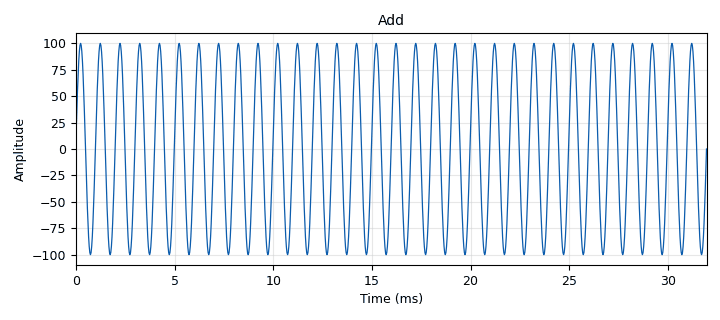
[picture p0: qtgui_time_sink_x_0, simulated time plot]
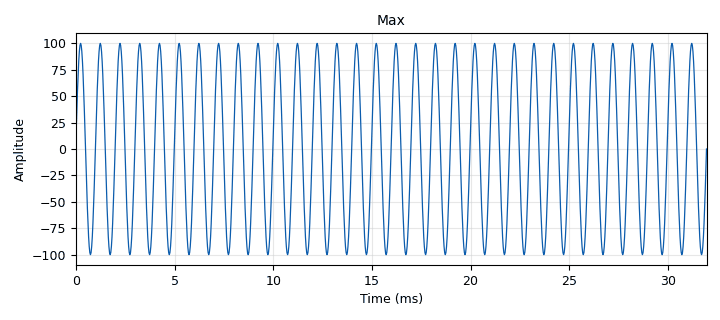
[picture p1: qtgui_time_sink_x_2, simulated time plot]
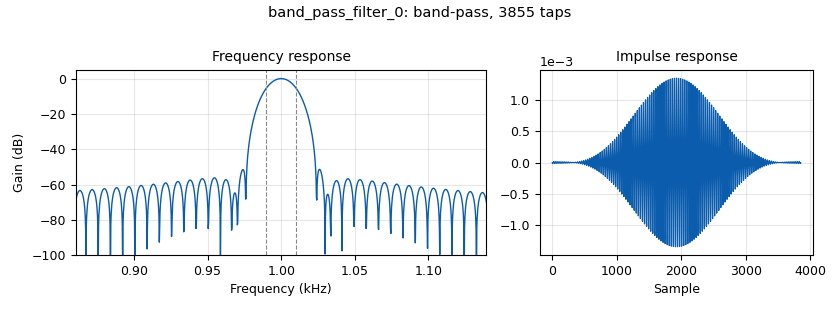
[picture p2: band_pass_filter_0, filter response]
<?xml version='1.0' encoding='utf-8'?>
<?grc format='1' created='3.7.9'?>
<flow_graph>
<block>
<key>options</key>
<param><key>id</key><value>top_block</value></param>
<param><key>category</key><value>Custom</value></param>
<param><key>generate_options</key><value>qt_gui</value></param>
</block>
<block>
<key>variable_function_probe</key>
<param><key>id</key><value>Selector</value></param>
<param><key>block_id</key><value>probe</value></param>
<param><key>function_name</key><value>level</value></param>
<param><key>poll_rate</key><value>10</value></param>
<param><key>value</key><value>0</value></param>
</block>
<block>
<key>variable</key>
<param><key>id</key><value>samp_rate</value></param>
<param><key>value</key><value>32000</value></param>
</block>
<block>
<key>variable_qtgui_range</key>
<param><key>id</key><value>variable_qtgui_range_0</value></param>
<param><key>value</key><value>50</value></param>
<param><key>label</key><value>Sig 2</value></param>
<param><key>orient</key><value>Qt.Horizontal</value></param>
<param><key>start</key><value>0</value></param>
<param><key>step</key><value>1</value></param>
<param><key>stop</key><value>100</value></param>
</block>
<block>
<key>variable_qtgui_range</key>
<param><key>id</key><value>variable_qtgui_range_1</value></param>
<param><key>value</key><value>50</value></param>
<param><key>label</key><value>Sig 1</value></param>
<param><key>orient</key><value>Qt.Horizontal</value></param>
<param><key>start</key><value>0</value></param>
<param><key>step</key><value>1</value></param>
<param><key>stop</key><value>100</value></param>
</block>
<block>
<key>analog_sig_source_x</key>
<param><key>id</key><value>Sig1</value></param>
<param><key>amp</key><value>variable_qtgui_range_1</value></param>
<param><key>freq</key><value>1000</value></param>
<param><key>offset</key><value>0</value></param>
<param><key>type</key><value>float</value></param>
<param><key>samp_rate</key><value>samp_rate</value></param>
<param><key>waveform</key><value>analog.GR_COS_WAVE</value></param>
</block>
<block>
<key>analog_sig_source_x</key>
<param><key>id</key><value>Sig2</value></param>
<param><key>amp</key><value>variable_qtgui_range_0</value></param>
<param><key>freq</key><value>1000</value></param>
<param><key>offset</key><value>0</value></param>
<param><key>type</key><value>float</value></param>
<param><key>samp_rate</key><value>samp_rate</value></param>
<param><key>waveform</key><value>analog.GR_COS_WAVE</value></param>
</block>
<block>
<key>analog_noise_source_x</key>
<param><key>id</key><value>analog_noise_source_x_0</value></param>
<param><key>amp</key><value>0.001</value></param>
<param><key>noise_type</key><value>analog.GR_GAUSSIAN</value></param>
<param><key>type</key><value>float</value></param>
<param><key>seed</key><value>0</value></param>
</block>
<block>
<key>band_pass_filter</key>
<param><key>id</key><value>band_pass_filter_0</value></param>
<param><key>decim</key><value>1</value></param>
<param><key>type</key><value>fir_filter_fff</value></param>
<param><key>gain</key><value>1</value></param>
<param><key>high_cutoff_freq</key><value>1010</value></param>
<param><key>low_cutoff_freq</key><value>990</value></param>
<param><key>samp_rate</key><value>samp_rate</value></param>
<param><key>width</key><value>20</value></param>
<param><key>win</key><value>firdes.WIN_HAMMING</value></param>
</block>
<block>
<key>band_pass_filter</key>
<param><key>id</key><value>band_pass_filter_0_0</value></param>
<param><key>decim</key><value>1</value></param>
<param><key>type</key><value>fir_filter_fff</value></param>
<param><key>gain</key><value>1</value></param>
<param><key>high_cutoff_freq</key><value>1010</value></param>
<param><key>low_cutoff_freq</key><value>990</value></param>
<param><key>samp_rate</key><value>samp_rate</value></param>
<param><key>width</key><value>20</value></param>
<param><key>win</key><value>firdes.WIN_HAMMING</value></param>
</block>
<block>
<key>blks2_selector</key>
<param><key>id</key><value>blks2_selector_0</value></param>
<param><key>input_index</key><value>Selector</value></param>
<param><key>num_inputs</key><value>2</value></param>
<param><key>num_outputs</key><value>1</value></param>
<param><key>output_index</key><value>0</value></param>
<param><key>type</key><value>float</value></param>
<param><key>vlen</key><value>1</value></param>
</block>
<block>
<key>blocks_abs_xx</key>
<param><key>id</key><value>blocks_abs_xx_0</value></param>
<param><key>type</key><value>float</value></param>
</block>
<block>
<key>blocks_abs_xx</key>
<param><key>id</key><value>blocks_abs_xx_1</value></param>
<param><key>type</key><value>float</value></param>
</block>
<block>
<key>blocks_add_xx</key>
<param><key>id</key><value>blocks_add_xx_0</value></param>
<param><key>type</key><value>float</value></param>
</block>
<block>
<key>blocks_add_xx</key>
<param><key>id</key><value>blocks_add_xx_0_0</value></param>
<param><key>type</key><value>float</value></param>
</block>
<block>
<key>blocks_add_xx</key>
<param><key>id</key><value>blocks_add_xx_1</value></param>
<param><key>type</key><value>float</value></param>
</block>
<block>
<key>blocks_argmax_xx</key>
<param><key>id</key><value>blocks_argmax_xx_0</value></param>
<param><key>type</key><value>float</value></param>
</block>
<block>
<key>blocks_null_sink</key>
<param><key>id</key><value>blocks_null_sink_0</value></param>
<param><key>bus_conns</key><value>[[0,],]</value></param>
<param><key>type</key><value>short</value></param>
</block>
<block>
<key>blocks_null_sink</key>
<param><key>id</key><value>blocks_null_sink_1</value></param>
<param><key>bus_conns</key><value>[[0,],]</value></param>
<param><key>type</key><value>float</value></param>
</block>
<block>
<key>blocks_sub_xx</key>
<param><key>id</key><value>blocks_sub_xx_0</value></param>
<param><key>type</key><value>float</value></param>
</block>
<block>
<key>blocks_throttle</key>
<param><key>id</key><value>blocks_throttle_0</value></param>
<param><key>samples_per_second</key><value>samp_rate</value></param>
<param><key>type</key><value>float</value></param>
</block>
<block>
<key>blocks_throttle</key>
<param><key>id</key><value>blocks_throttle_1</value></param>
<param><key>samples_per_second</key><value>samp_rate</value></param>
<param><key>type</key><value>float</value></param>
</block>
<block>
<key>blocks_probe_signal_x</key>
<param><key>id</key><value>probe</value></param>
<param><key>type</key><value>short</value></param>
</block>
<block>
<key>qtgui_time_sink_x</key>
<param><key>id</key><value>qtgui_time_sink_x_0</value></param>
<param><key>autoscale</key><value>True</value></param>
<param><key>color1</key><value>"blue"</value></param>
<param><key>label1</key><value></value></param>
<param><key>name</key><value>"Add"</value></param>
<param><key>size</key><value>1024</value></param>
<param><key>srate</key><value>samp_rate</value></param>
<param><key>type</key><value>float</value></param>
<param><key>ymax</key><value>2</value></param>
<param><key>ymin</key><value>-2</value></param>
</block>
<block>
<key>qtgui_time_sink_x</key>
<param><key>id</key><value>qtgui_time_sink_x_1</value></param>
<param><key>autoscale</key><value>True</value></param>
<param><key>color1</key><value>"blue"</value></param>
<param><key>label1</key><value></value></param>
<param><key>name</key><value>"Subtract"</value></param>
<param><key>size</key><value>1024</value></param>
<param><key>srate</key><value>samp_rate</value></param>
<param><key>type</key><value>float</value></param>
<param><key>ymax</key><value>2</value></param>
<param><key>ymin</key><value>-2</value></param>
</block>
<block>
<key>qtgui_time_sink_x</key>
<param><key>id</key><value>qtgui_time_sink_x_2</value></param>
<param><key>autoscale</key><value>True</value></param>
<param><key>color1</key><value>"blue"</value></param>
<param><key>label1</key><value></value></param>
<param><key>name</key><value>"Max"</value></param>
<param><key>size</key><value>1024</value></param>
<param><key>srate</key><value>samp_rate</value></param>
<param><key>type</key><value>float</value></param>
<param><key>ymax</key><value>2</value></param>
<param><key>ymin</key><value>-2</value></param>
</block>
<connection><source_block_id>Sig1</source_block_id><sink_block_id>blocks_add_xx_0</sink_block_id><source_key>0</source_key><sink_key>1</sink_key></connection>
<connection><source_block_id>Sig2</source_block_id><sink_block_id>blocks_add_xx_0_0</sink_block_id><source_key>0</source_key><sink_key>1</sink_key></connection>
<connection><source_block_id>analog_noise_source_x_0</source_block_id><sink_block_id>blocks_add_xx_0</sink_block_id><source_key>0</source_key><sink_key>0</sink_key></connection>
<connection><source_block_id>analog_noise_source_x_0</source_block_id><sink_block_id>blocks_add_xx_0_0</sink_block_id><source_key>0</source_key><sink_key>0</sink_key></connection>
<connection><source_block_id>band_pass_filter_0</source_block_id><sink_block_id>blocks_add_xx_1</sink_block_id><source_key>0</source_key><sink_key>0</sink_key></connection>
<connection><source_block_id>band_pass_filter_0</source_block_id><sink_block_id>blocks_sub_xx_0</sink_block_id><source_key>0</source_key><sink_key>0</sink_key></connection>
<connection><source_block_id>band_pass_filter_0_0</source_block_id><sink_block_id>blocks_add_xx_1</sink_block_id><source_key>0</source_key><sink_key>1</sink_key></connection>
<connection><source_block_id>band_pass_filter_0_0</source_block_id><sink_block_id>blocks_sub_xx_0</sink_block_id><source_key>0</source_key><sink_key>1</sink_key></connection>
<connection><source_block_id>blks2_selector_0</source_block_id><sink_block_id>blocks_null_sink_1</sink_block_id><source_key>0</source_key><sink_key>0</sink_key></connection>
<connection><source_block_id>blks2_selector_0</source_block_id><sink_block_id>qtgui_time_sink_x_2</sink_block_id><source_key>0</source_key><sink_key>0</sink_key></connection>
<connection><source_block_id>blocks_abs_xx_0</source_block_id><sink_block_id>blocks_argmax_xx_0</sink_block_id><source_key>0</source_key><sink_key>0</sink_key></connection>
<connection><source_block_id>blocks_abs_xx_1</source_block_id><sink_block_id>blocks_argmax_xx_0</sink_block_id><source_key>0</source_key><sink_key>1</sink_key></connection>
<connection><source_block_id>blocks_add_xx_0</source_block_id><sink_block_id>blocks_throttle_0</sink_block_id><source_key>0</source_key><sink_key>0</sink_key></connection>
<connection><source_block_id>blocks_add_xx_0_0</source_block_id><sink_block_id>blocks_throttle_1</sink_block_id><source_key>0</source_key><sink_key>0</sink_key></connection>
<connection><source_block_id>blocks_add_xx_1</source_block_id><sink_block_id>blks2_selector_0</sink_block_id><source_key>0</source_key><sink_key>0</sink_key></connection>
<connection><source_block_id>blocks_add_xx_1</source_block_id><sink_block_id>blocks_abs_xx_0</sink_block_id><source_key>0</source_key><sink_key>0</sink_key></connection>
<connection><source_block_id>blocks_add_xx_1</source_block_id><sink_block_id>qtgui_time_sink_x_0</sink_block_id><source_key>0</source_key><sink_key>0</sink_key></connection>
<connection><source_block_id>blocks_argmax_xx_0</source_block_id><sink_block_id>probe</sink_block_id><source_key>1</source_key><sink_key>0</sink_key></connection>
<connection><source_block_id>blocks_argmax_xx_0</source_block_id><sink_block_id>blocks_null_sink_0</sink_block_id><source_key>0</source_key><sink_key>0</sink_key></connection>
<connection><source_block_id>blocks_sub_xx_0</source_block_id><sink_block_id>blks2_selector_0</sink_block_id><source_key>0</source_key><sink_key>1</sink_key></connection>
<connection><source_block_id>blocks_sub_xx_0</source_block_id><sink_block_id>blocks_abs_xx_1</sink_block_id><source_key>0</source_key><sink_key>0</sink_key></connection>
<connection><source_block_id>blocks_sub_xx_0</source_block_id><sink_block_id>qtgui_time_sink_x_1</sink_block_id><source_key>0</source_key><sink_key>0</sink_key></connection>
<connection><source_block_id>blocks_throttle_0</source_block_id><sink_block_id>band_pass_filter_0</sink_block_id><source_key>0</source_key><sink_key>0</sink_key></connection>
<connection><source_block_id>blocks_throttle_1</source_block_id><sink_block_id>band_pass_filter_0_0</sink_block_id><source_key>0</source_key><sink_key>0</sink_key></connection>
</flow_graph>
